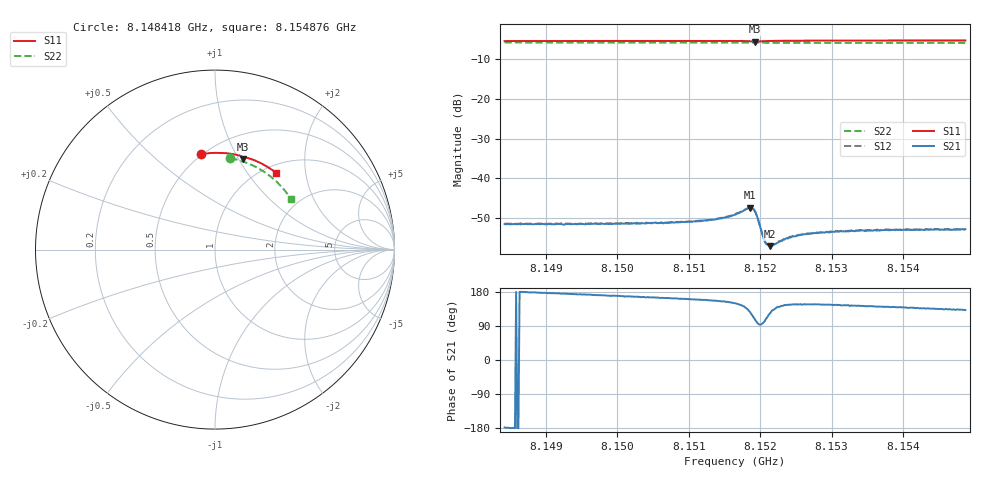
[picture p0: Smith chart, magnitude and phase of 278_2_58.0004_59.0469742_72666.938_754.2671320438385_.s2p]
#  HZ  S  RI  R  50.00
! Rohde & Schwarz Vector Network Analyzer
! Rohde-Schwarz,ZNB20-2Port,1311601062101988,3.16
! Created: UTC 3/21/2024, 1:02:45 AM
! freq[Hz]  re:S11  im:S11  re:S21  im:S21  re:S12  im:S12  re:S22  im:S22
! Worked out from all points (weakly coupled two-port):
!   401 points, 8.148418 GHz to 8.154876 GHz, reference 50 ohm
!   highest |S21| = -47.47 dB at 8.151857 GHz (marker M1); lowest = -57.2 dB at 8.152132 GHz (marker M2)
!   lowest |S11| = -5.5 dB at 8.151922 GHz (marker M3), VSWR 3.25, Z = 37.3 + j52.4 ohm
!   |S11| at or under -10 dB: nowhere
!   |S22| runs from -5.9 to -5.7 dB; largest |S21 - S12| = 0.00012
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8.1484179e9  -0.0807 0.5308  -0.00263 -9.02e-05  -0.00267 -2.07e-05  0.0861 0.5089
8.1494997e9  -0.0055 0.5387  -0.00263 0.000338  -0.00265 0.000353  0.1545 0.4912
8.1505815e9  0.0699 0.5361  -0.00262 0.00073  -0.0026 0.000789  0.2194 0.4646
8.1510659e9  0.1036 0.5312  -0.00268 0.00097  -0.00269 0.00102  0.247 0.4499
8.1512758e9  0.1186 0.5282  -0.00274 0.0011  -0.00272 0.00117  0.2586 0.443
8.1514857e9  0.1336 0.5246  -0.00286 0.00137  -0.00286 0.0014  0.2703 0.4356
8.1516472e9  0.1456 0.5206  -0.00301 0.00175  -0.00299 0.00181  0.2788 0.4298
8.1518571e9  0.1591 0.509  -0.00252 0.0034  -0.00251 0.00345  0.2896 0.422
8.1518894e9  0.1588 0.5066  -0.00194 0.00369  -0.00191 0.00373  0.2912 0.4207
8.1519216e9  0.1576 0.5052  -0.00122 0.00369  -0.00116 0.00372  0.2928 0.4195
8.1519539e9  0.1561 0.506  -0.000551 0.00329  -0.0005 0.00332  0.2944 0.4185
8.1520347e9  0.1585 0.5108  -0.000226 0.00188  -0.000178 0.00191  0.2985 0.4157
8.152067e9  0.1613 0.512  -0.000376 0.00152  -0.000353 0.00154  0.3003 0.4144
8.1520993e9  0.164 0.5127  -0.00056 0.00133  -0.000577 0.00133  0.3019 0.4131
8.1521316e9  0.1668 0.5128  -0.000728 0.00118  -0.000725 0.00122  0.3037 0.412
8.15218e9  0.171 0.5127  -0.000955 0.00107  -0.000934 0.00106  0.3061 0.4102
8.1523576e9  0.1847 0.5097  -0.00142 0.000987  -0.00138 0.00101  0.3152 0.4031
8.1524383e9  0.1905 0.5082  -0.00151 0.00101  -0.00151 0.00103  0.3191 0.3997
8.152729e9  0.2104 0.5011  -0.00169 0.00111  -0.0017 0.00112  0.3332 0.3875
8.1530519e9  0.2315 0.4924  -0.00174 0.0012  -0.00176 0.00126  0.3484 0.3734
8.1538108e9  0.2787 0.4688  -0.00167 0.00142  -0.0017 0.00148  0.3813 0.3381
8.1548765e9  0.3402 0.4282  -0.00152 0.0017  -0.0015 0.00167  0.4215 0.284
